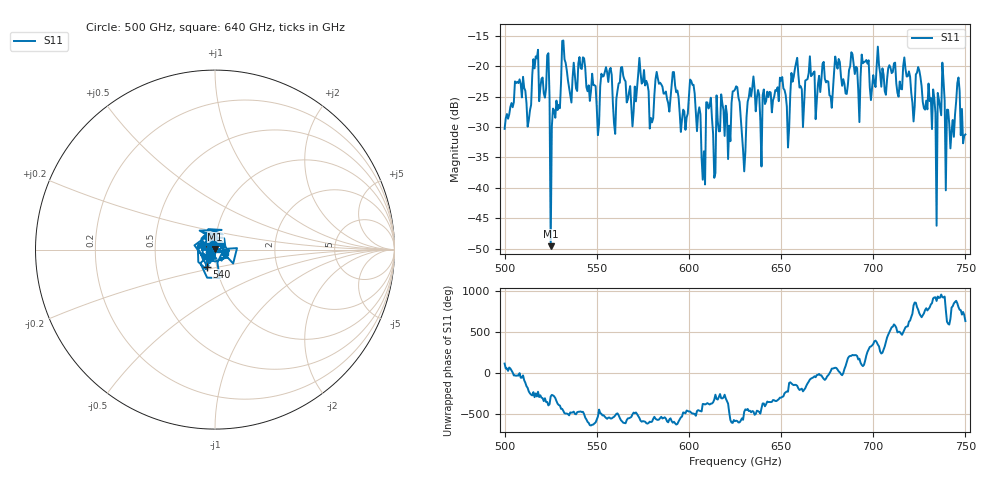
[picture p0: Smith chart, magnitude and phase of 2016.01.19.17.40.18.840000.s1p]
!Created with skrf (http://scikit-rf.org).
# GHz S RI R 50.0
!freq ReS11 ImS11
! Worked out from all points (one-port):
!   401 points, 500 GHz to 750 GHz, reference 50 ohm
!   lowest |S11| = -49.6 dB at 525 GHz (marker M1), VSWR 1.01, Z = 50.1 + j0.315 ohm
!   |S11| at or under -10 dB: start of sweep to end of sweep
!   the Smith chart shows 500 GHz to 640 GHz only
!   S11 on the Smith chart (normalised r, x): 500 GHz: 0.97, +0.05; 540 GHz: 0.90, -0.17; 640 GHz: 1.12, -0.03
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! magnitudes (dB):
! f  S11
! 500 GHz  -30.3
! 506.9 GHz  -22.6
! 513.1 GHz  -28.9
! 516.9 GHz  -18.4
! 523.1 GHz  -18.2
! 525 GHz  -49.6
! 531.2 GHz  -15.9
! 540 GHz  -19.6
! 550.6 GHz  -31.3
! 556.2 GHz  -22.6
! 560 GHz  -31.1
! 562.5 GHz  -22.7
! 593.8 GHz  -24.0
! 601.9 GHz  -23.1
! 607.5 GHz  -38.7
! 610.6 GHz  -27.0
! 615 GHz  -24.8
! 625 GHz  -23.8
! 629.4 GHz  -33.8
! 633.8 GHz  -25.0
! 640 GHz  -24.8
! 653.8 GHz  -33.4
! 656.2 GHz  -22.6
! 687.5 GHz  -20.0
! 718.8 GHz  -21.7
! 733.1 GHz  -25.3
! 745.6 GHz  -22.8
! 750 GHz  -31.2
